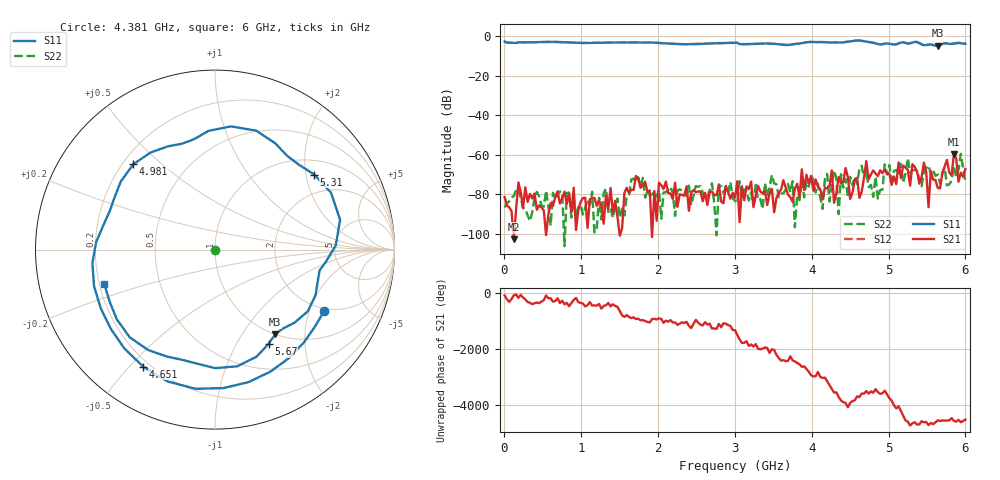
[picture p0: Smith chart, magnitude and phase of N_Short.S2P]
! C:\data\cal kit\Siglent Cal Kit\N_Short.S2P
! Touchstone 1.1 file saved by VNA.EXE V1.60 (www.ke5fx.com/gpib/readme.htm)
! 26/07/2019 10:47:56 a.m.
!  Source: HEWLETT PACKARD,8753C,0,4.12
!  Min freq: 3.000000E+006 Hz
!  Max freq: 6.000000E+009 Hz
!  Points: 201
!  Params: S11 S21 S12 S22
# GHZ S DB R 50
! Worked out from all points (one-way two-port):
!   201 points, 3 MHz to 6 GHz, reference 50 ohm
!   highest |S21| = -59.86 dB at 5.85 GHz (marker M1); lowest = -102.8 dB at 122.9 MHz (marker M2)
!   lowest |S11| = -4.7 dB at 5.64 GHz (marker M3), VSWR 3.75, Z = 50.1 - j71.1 ohm
!   |S11| at or under -10 dB: nowhere
!   |S22| runs from -106.3 to -59.5 dB; largest |S21 - S12| = 0.78
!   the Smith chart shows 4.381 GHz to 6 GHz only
!   S11 on the Smith chart (normalised r, x): 4.381 GHz: 1.92, -2.54; 4.651 GHz: 0.17, -0.55; 4.981 GHz: 0.24, +0.41; 5.31 GHz: 1.39, +2.23; 5.67 GHz: 0.83, -1.37; 6 GHz: 0.22, -0.15
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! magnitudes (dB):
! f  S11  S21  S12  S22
! 3 MHz  -2.7  -81.4  -2.7  -86.7
! 122.9 MHz  -3.4  -102.8  -3.4  -81.0
! 1.022 GHz  -3.4  -81.9  -3.4  -90.3
! 2.012 GHz  -3.4  -74.1  -3.4  -77.9
! 3.002 GHz  -3.3  -81.7  -3.3  -83.3
! 3.841 GHz  -3.7  -81.6  -3.7  -83.1
! 3.871 GHz  -3.5  -67.4  -3.5  -72.6
! 4.021 GHz  -2.9  -78.2  -2.9  -72.6
! 4.381 GHz  -3.1  -74.5  -3.1  -69.9
! 4.471 GHz  -2.7  -71.4  -2.7  -81.8
! 4.651 GHz  -2.3  -78.8  -2.3  -65.5
! 4.711 GHz  -2.7  -63.3  -2.8  -67.8
! 4.801 GHz  -3.3  -67.9  -3.3  -81.3
! 4.981 GHz  -3.6  -69.7  -3.6  -70.0
! 5.01 GHz  -3.8  -69.7  -3.8  -65.3
! 5.28 GHz  -3.5  -75.7  -3.5  -69.1
! 5.31 GHz  -3.2  -64.8  -3.2  -67.8
! 5.64 GHz  -4.7  -76.8  -4.7  -70.0
! 5.67 GHz  -4.4  -77.0  -4.4  -74.5
! 5.85 GHz  -3.7  -59.9  -3.7  -65.8
! 5.91 GHz  -3.3  -73.7  -3.3  -67.5
! 6 GHz  -3.8  -67.2  -3.8  -73.4
